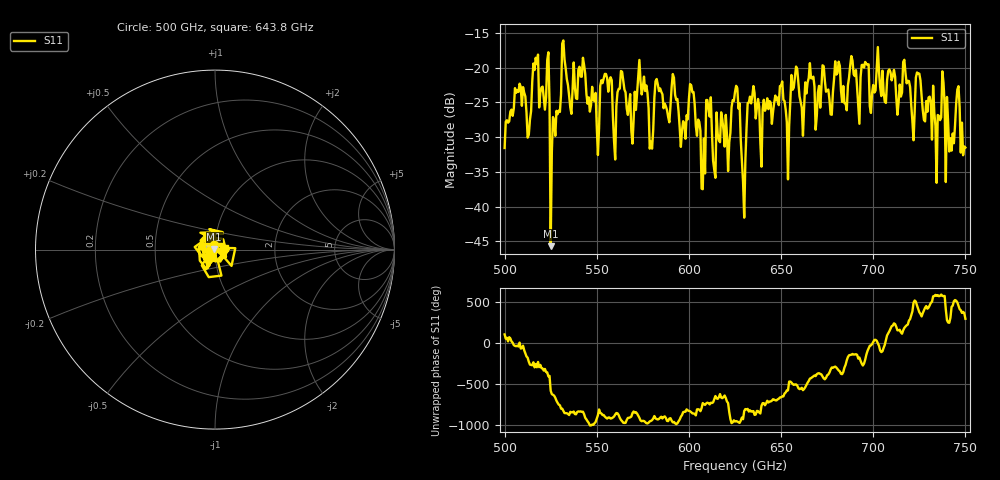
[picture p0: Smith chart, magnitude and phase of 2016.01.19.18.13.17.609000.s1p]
!Created with skrf (http://scikit-rf.org).
# GHz S RI R 50.0
!freq ReS11 ImS11
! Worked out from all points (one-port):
!   401 points, 500 GHz to 750 GHz, reference 50 ohm
!   lowest |S11| = -45.7 dB at 525 GHz (marker M1), VSWR 1.01, Z = 49.6 + j0.318 ohm
!   |S11| at or under -10 dB: start of sweep to end of sweep
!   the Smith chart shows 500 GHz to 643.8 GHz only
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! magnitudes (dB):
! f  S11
! 500 GHz  -31.6
! 506.9 GHz  -23.2
! 513.1 GHz  -29.7
! 516.9 GHz  -18.6
! 525 GHz  -45.7
! 526.2 GHz  -27.1
! 531.2 GHz  -16.5
! 550 GHz  -28.5
! 562.5 GHz  -23.0
! 570 GHz  -27.5
! 574.4 GHz  -23.8
! 579.4 GHz  -30.6
! 583.1 GHz  -22.4
! 593.8 GHz  -24.5
! 601.9 GHz  -23.5
! 607.5 GHz  -37.5
! 610.6 GHz  -26.0
! 614.4 GHz  -35.9
! 625 GHz  -23.5
! 629.4 GHz  -36.5
! 633.8 GHz  -25.1
! 653.8 GHz  -36.1
! 656.2 GHz  -23.2
! 687.5 GHz  -19.7
! 718.8 GHz  -21.9
! 742.5 GHz  -31.9
! 745.6 GHz  -23.2
! 750 GHz  -31.5
